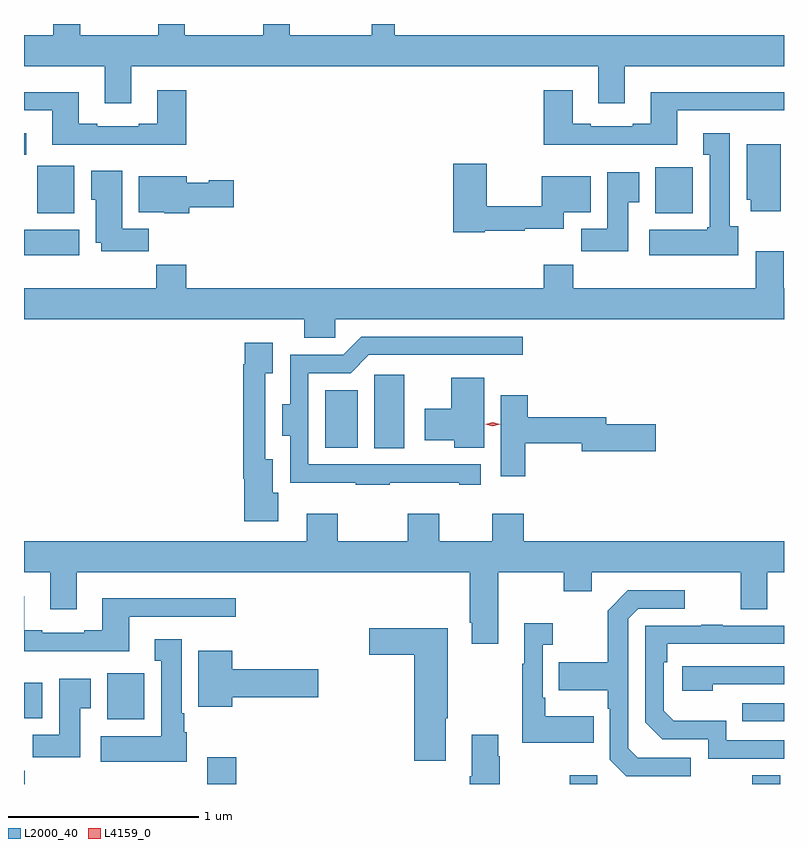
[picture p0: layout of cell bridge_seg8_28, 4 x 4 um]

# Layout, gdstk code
import gdstk
lib = gdstk.Library(unit=1e-6, precision=1e-09)
def R(c, l, rs):  # rectangles x0, y0, x1, y1
    for r in rs: c.add(gdstk.rectangle(r[:2], r[2:], *l))
def P(c, l, *ps):  # polygons
    for p in ps: c.add(gdstk.Polygon(p, *l))
L2000_40 = (2000, 40)
L4159_0 = (4159, 0)

bridge_seg8_28 = lib.new_cell('bridge_seg8_28')
R(bridge_seg8_28, L2000_40, [(1116.12,1152.682,1116.125,1152.752), (1117.085,1152.682,1117.238,1152.823), (1118.992,1152.682,1119.138,1152.727), (1119.952,1152.682,1120.099,1152.727), (1119.901,1153.011,1120.12,1153.107), (1116.557,1153.022,1116.754,1153.264), (1116.12,1153.028,1116.217,1153.216), (1117.964,1154.449,1118.122,1154.836), (1117.706,1154.453,1117.876,1154.755), (1116.12,1155.464,1116.412,1155.598), (1116.189,1155.686,1116.385,1155.936), (1119.443,1155.686,1119.64,1155.928), (1116.12,1155.995,1116.133,1156.108)])
P(bridge_seg8_28, L2000_40, [(1119.143,1156.266),(1119.283,1156.266),(1119.283,1156.46),(1120.12,1156.46),(1120.12,1156.624),(1118.071,1156.624),(1118.071,1156.682),(1117.949,1156.682),(1117.949,1156.624),(1117.519,1156.624),(1117.519,1156.682),(1117.379,1156.682),(1117.379,1156.624),(1116.967,1156.624),(1116.967,1156.682),(1116.827,1156.682),(1116.827,1156.624),(1116.415,1156.624),(1116.415,1156.682),(1116.275,1156.682),(1116.275,1156.624),(1116.12,1156.624),(1116.12,1156.46),(1116.545,1156.46),(1116.545,1156.266),(1116.685,1156.266),(1116.685,1156.46),(1119.143,1156.46)],
  [(1119.559,1156.227),(1120.12,1156.227),(1120.12,1156.324),(1119.419,1156.324),(1119.419,1156.156),(1119.323,1156.156),(1119.323,1156.143),(1119.103,1156.143),(1119.103,1156.156),(1119.007,1156.156),(1119.007,1156.333),(1118.855,1156.333),(1118.855,1156.046),(1119.559,1156.046)],
  [(1116.974,1156.333),(1116.821,1156.333),(1116.821,1156.156),(1116.725,1156.156),(1116.725,1156.143),(1116.505,1156.143),(1116.505,1156.156),(1116.409,1156.156),(1116.409,1156.324),(1116.12,1156.324),(1116.12,1156.227),(1116.269,1156.227),(1116.269,1156.046),(1116.974,1156.046)],
  [(1119.88,1155.618),(1119.835,1155.618),(1119.835,1156.108),(1119.695,1156.108),(1119.695,1155.995),(1119.728,1155.995),(1119.728,1155.612),(1119.715,1155.612),(1119.715,1155.598),(1119.411,1155.598),(1119.411,1155.464),(1119.88,1155.464)],
  [(1120.102,1156.048),(1119.923,1156.048),(1119.923,1155.756),(1119.944,1155.756),(1119.944,1155.696),(1120.102,1155.696)],
  [(1118.544,1155.594),(1118.756,1155.594),(1118.756,1155.605),(1118.962,1155.605),(1118.962,1155.692),(1119.103,1155.692),(1119.103,1155.88),(1118.845,1155.88),(1118.845,1155.722),(1118.556,1155.722),(1118.556,1155.946),(1118.378,1155.946),(1118.378,1155.586),(1118.544,1155.586)],
  [(1116.776,1155.604),(1116.637,1155.604),(1116.637,1155.91),(1116.473,1155.91),(1116.473,1155.756),(1116.497,1155.756),(1116.497,1155.53),(1116.527,1155.53),(1116.527,1155.486),(1116.776,1155.486)],
  [(1119.301,1155.745),(1119.358,1155.745),(1119.358,1155.901),(1119.191,1155.901),(1119.191,1155.604),(1119.052,1155.604),(1119.052,1155.486),(1119.301,1155.486)],
  [(1116.989,1155.718),(1117.225,1155.718),(1117.225,1155.86),(1117.092,1155.86),(1117.092,1155.847),(1116.976,1155.847),(1116.976,1155.88),(1116.725,1155.88),(1116.725,1155.692),(1116.858,1155.692),(1116.858,1155.686),(1116.989,1155.686)],
  [(1117.758,1155.128),(1120.12,1155.128),(1120.12,1155.292),(1120.119,1155.292),(1120.119,1155.487),(1119.971,1155.487),(1119.971,1155.292),(1119.011,1155.292),(1119.011,1155.416),(1118.855,1155.416),(1118.855,1155.292),(1116.974,1155.292),(1116.974,1155.416),(1116.817,1155.416),(1116.817,1155.292),(1116.12,1155.292),(1116.12,1155.128),(1117.595,1155.128),(1117.595,1155.03),(1117.758,1155.03)],
  [(1118.045,1154.267),(1118.411,1154.267),(1118.411,1154.256),(1118.524,1154.256),(1118.524,1154.364),(1117.617,1154.364),(1117.617,1154.844),(1117.839,1154.844),(1117.935,1154.94),(1118.746,1154.94),(1118.746,1155.036),(1117.896,1155.036),(1117.8,1154.94),(1117.52,1154.94),(1117.52,1154.68),(1117.478,1154.68),(1117.478,1154.516),(1117.521,1154.516),(1117.521,1154.267),(1117.867,1154.267),(1117.867,1154.256),(1118.045,1154.256)],
  [(1117.459,1154.214),(1117.429,1154.214),(1117.429,1154.392),(1117.389,1154.392),(1117.389,1154.843),(1117.429,1154.843),(1117.429,1155.004),(1117.281,1155.004),(1117.281,1154.891),(1117.273,1154.891),(1117.273,1154.288),(1117.28,1154.288),(1117.28,1154.066),(1117.459,1154.066)],
  [(1118.542,1154.821),(1118.369,1154.821),(1118.369,1154.656),(1118.229,1154.656),(1118.229,1154.492),(1118.384,1154.492),(1118.384,1154.453),(1118.542,1154.453)],
  [(1118.758,1154.476),(1119.056,1154.476),(1119.056,1154.434),(1119.445,1154.434),(1119.445,1154.576),(1119.184,1154.576),(1119.184,1154.612),(1118.771,1154.612),(1118.771,1154.728),(1118.63,1154.728),(1118.63,1154.301),(1118.758,1154.301)],
  [(1118.617,1153.796),(1118.962,1153.796),(1118.962,1153.697),(1119.109,1153.697),(1119.109,1153.796),(1119.893,1153.796),(1119.893,1153.602),(1120.033,1153.602),(1120.033,1153.796),(1120.12,1153.796),(1120.12,1153.96),(1118.749,1153.96),(1118.749,1154.104),(1118.585,1154.104),(1118.585,1153.96),(1118.305,1153.96),(1118.305,1154.104),(1118.141,1154.104),(1118.141,1153.96),(1117.771,1153.96),(1117.771,1154.104),(1117.607,1154.104),(1117.607,1153.96),(1116.12,1153.96),(1116.12,1153.796),(1116.257,1153.796),(1116.257,1153.602),(1116.397,1153.602),(1116.397,1153.796),(1118.465,1153.796),(1118.465,1153.531),(1118.477,1153.531),(1118.477,1153.419),(1118.617,1153.419)],
  [(1119.628,1152.819),(1119.351,1152.819),(1119.3,1152.87),(1119.3,1153.551),(1119.354,1153.605),(1119.598,1153.605),(1119.598,1153.701),(1119.297,1153.701),(1119.192,1153.595),(1119.192,1153.323),(1118.935,1153.323),(1118.935,1153.175),(1119.192,1153.175),(1119.192,1153.079),(1119.204,1153.079),(1119.204,1152.81),(1119.291,1152.723),(1119.628,1152.723)],
  [(1116.673,1153.563),(1117.234,1153.563),(1117.234,1153.66),(1116.533,1153.66),(1116.533,1153.492),(1116.437,1153.492),(1116.437,1153.479),(1116.217,1153.479),(1116.217,1153.492),(1116.121,1153.492),(1116.121,1153.669),(1116.12,1153.669),(1116.12,1153.382),(1116.673,1153.382)],
  [(1119.119,1153.039),(1118.863,1153.039),(1118.863,1153.135),(1118.85,1153.135),(1118.85,1153.415),(1118.902,1153.415),(1118.902,1153.528),(1118.753,1153.528),(1118.753,1153.315),(1118.742,1153.315),(1118.742,1152.899),(1119.119,1152.899)],
  [(1120.12,1152.912),(1119.816,1152.912),(1119.816,1153.015),(1119.539,1153.015),(1119.486,1153.068),(1119.486,1153.322),(1119.506,1153.322),(1119.506,1153.419),(1120.12,1153.419),(1120.12,1153.515),(1119.797,1153.515),(1119.797,1153.52),(1119.685,1153.52),(1119.685,1153.515),(1119.39,1153.515),(1119.39,1153.008),(1119.48,1152.918),(1119.72,1152.918),(1119.72,1152.816),(1120.12,1152.816)],
  [(1118.341,1153.027),(1118.349,1153.027),(1118.349,1153.503),(1117.938,1153.503),(1117.938,1153.361),(1118.174,1153.361),(1118.174,1152.804),(1118.341,1152.804)],
  [(1116.976,1152.954),(1116.964,1152.954),(1116.964,1153.054),(1116.949,1153.054),(1116.949,1153.444),(1116.809,1153.444),(1116.809,1153.331),(1116.842,1153.331),(1116.842,1152.934),(1116.525,1152.934),(1116.525,1152.8),(1116.976,1152.8)],
  [(1117.216,1153.139),(1117.669,1153.139),(1117.669,1153.286),(1117.216,1153.286),(1117.216,1153.384),(1117.037,1153.384),(1117.037,1153.088),(1117.216,1153.088)],
  [(1119.746,1153.206),(1120.12,1153.206),(1120.12,1153.302),(1119.585,1153.302),(1119.585,1153.172),(1119.746,1153.172)],
  [(1116.415,1153.081),(1116.472,1153.081),(1116.472,1153.237),(1116.305,1153.237),(1116.305,1152.94),(1116.166,1152.94),(1116.166,1152.822),(1116.415,1152.822)],
  [(1118.625,1152.827),(1118.617,1152.827),(1118.617,1152.94),(1118.477,1152.94),(1118.477,1152.724),(1118.465,1152.724),(1118.465,1152.682),(1118.625,1152.682)])
P(bridge_seg8_28, L4159_0, [(1118.586,1154.566),(1118.547,1154.576),(1118.547,1154.576),(1118.547,1154.576),(1118.586,1154.586),(1118.626,1154.576),(1118.626,1154.576),(1118.626,1154.575)])

lib.write_gds('bridge_seg8_28.gds')
